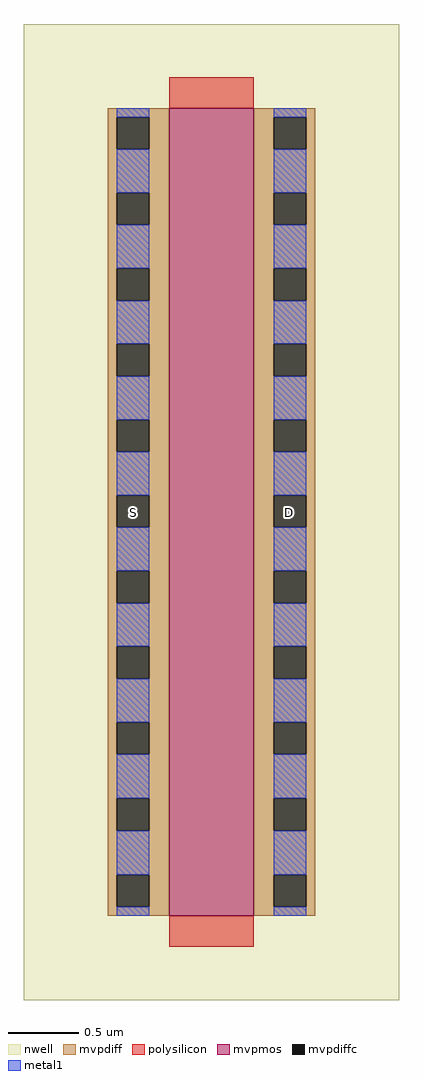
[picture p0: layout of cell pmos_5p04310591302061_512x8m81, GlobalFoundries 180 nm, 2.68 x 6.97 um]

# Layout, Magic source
magic
tech gf180mcuB
magscale 1 10
<< nwell >>
rect -208 -120 328 1274
<< mvpmos >>
rect 0 0 120 1154
<< mvpdiff >>
rect -88 1141 0 1154
rect -88 1095 -75 1141
rect -29 1095 0 1141
rect -88 1033 0 1095
rect -88 987 -75 1033
rect -29 987 0 1033
rect -88 925 0 987
rect -88 879 -75 925
rect -29 879 0 925
rect -88 817 0 879
rect -88 771 -75 817
rect -29 771 0 817
rect -88 709 0 771
rect -88 663 -75 709
rect -29 663 0 709
rect -88 601 0 663
rect -88 555 -75 601
rect -29 555 0 601
rect -88 493 0 555
rect -88 447 -75 493
rect -29 447 0 493
rect -88 385 0 447
rect -88 339 -75 385
rect -29 339 0 385
rect -88 277 0 339
rect -88 231 -75 277
rect -29 231 0 277
rect -88 168 0 231
rect -88 122 -75 168
rect -29 122 0 168
rect -88 59 0 122
rect -88 13 -75 59
rect -29 13 0 59
rect -88 0 0 13
rect 120 1141 208 1154
rect 120 1095 149 1141
rect 195 1095 208 1141
rect 120 1033 208 1095
rect 120 987 149 1033
rect 195 987 208 1033
rect 120 925 208 987
rect 120 879 149 925
rect 195 879 208 925
rect 120 817 208 879
rect 120 771 149 817
rect 195 771 208 817
rect 120 709 208 771
rect 120 663 149 709
rect 195 663 208 709
rect 120 601 208 663
rect 120 555 149 601
rect 195 555 208 601
rect 120 493 208 555
rect 120 447 149 493
rect 195 447 208 493
rect 120 385 208 447
rect 120 339 149 385
rect 195 339 208 385
rect 120 277 208 339
rect 120 231 149 277
rect 195 231 208 277
rect 120 168 208 231
rect 120 122 149 168
rect 195 122 208 168
rect 120 59 208 122
rect 120 13 149 59
rect 195 13 208 59
rect 120 0 208 13
<< mvpdiffc >>
rect -75 1095 -29 1141
rect -75 987 -29 1033
rect -75 879 -29 925
rect -75 771 -29 817
rect -75 663 -29 709
rect -75 555 -29 601
rect -75 447 -29 493
rect -75 339 -29 385
rect -75 231 -29 277
rect -75 122 -29 168
rect -75 13 -29 59
rect 149 1095 195 1141
rect 149 987 195 1033
rect 149 879 195 925
rect 149 771 195 817
rect 149 663 195 709
rect 149 555 195 601
rect 149 447 195 493
rect 149 339 195 385
rect 149 231 195 277
rect 149 122 195 168
rect 149 13 195 59
<< polysilicon >>
rect 0 1154 120 1198
rect 0 -44 120 0
<< metal1 >>
rect -75 1141 -29 1154
rect -75 1033 -29 1095
rect -75 925 -29 987
rect -75 817 -29 879
rect -75 709 -29 771
rect -75 601 -29 663
rect -75 493 -29 555
rect -75 385 -29 447
rect -75 277 -29 339
rect -75 168 -29 231
rect -75 59 -29 122
rect -75 0 -29 13
rect 149 1141 195 1154
rect 149 1033 195 1095
rect 149 925 195 987
rect 149 817 195 879
rect 149 709 195 771
rect 149 601 195 663
rect 149 493 195 555
rect 149 385 195 447
rect 149 277 195 339
rect 149 168 195 231
rect 149 59 195 122
rect 149 0 195 13
<< labels >>
flabel metal1 s -52 577 -52 577 0 FreeSans 400 0 0 0 S
flabel metal1 s 172 577 172 577 0 FreeSans 400 0 0 0 D
<< properties >>
string GDS_END 31666
string GDS_FILE $PDKPATH/libs.ref/gf180mcu_fd_ip_sram/gds/gf180mcu_fd_ip_sram__sram512x8m8wm1.gds
string GDS_START 29298
<< end >>
